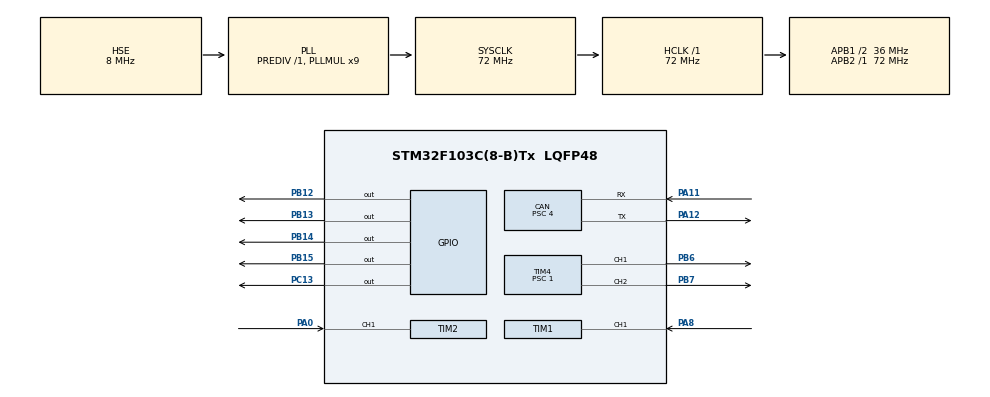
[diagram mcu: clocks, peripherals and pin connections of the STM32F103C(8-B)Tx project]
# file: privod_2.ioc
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CAN.ABOM=ENABLE
CAN.BS1=CAN_BS1_15TQ
CAN.BS2=CAN_BS2_2TQ
CAN.CalculateBaudRate=500000
CAN.CalculateTimeBit=2000
CAN.CalculateTimeQuantum=111.11111111111111
CAN.NART=ENABLE
CAN.Prescaler=4
CAN.TXFP=ENABLE
Mcu.Family=STM32F1
Mcu.Name=STM32F103C(8-B)Tx
Mcu.Package=LQFP48
NVIC.PriorityGroup=NVIC_PRIORITYGROUP_4
NVIC.TIM1_CC_IRQn=true\:0\:0\:false\:false\:true\:true\:true\:true
NVIC.TIM2_IRQn=true\:0\:0\:false\:false\:true\:true\:true\:true
NVIC.TIM3_IRQn=true\:0\:0\:false\:false\:true\:true\:true\:true
NVIC.USB_HP_CAN1_TX_IRQn=true\:0\:0\:false\:false\:true\:true\:true\:true
NVIC.USB_LP_CAN1_RX0_IRQn=true\:0\:0\:false\:false\:true\:true\:true\:true
PA0-WKUP.Signal=S_TIM2_CH1_ETR
PA11.Mode=CAN_Activate
PA11.Signal=CAN_RX
PA12.Mode=CAN_Activate
PA12.Signal=CAN_TX
PA13.Mode=Serial_Wire
PA13.Signal=SYS_JTMS-SWDIO
PA14.Mode=Serial_Wire
PA14.Signal=SYS_JTCK-SWCLK
PA8.Signal=S_TIM1_CH1
PB12.Signal=GPIO_Output
PB13.Signal=GPIO_Output
PB14.Signal=GPIO_Output
PB15.Signal=GPIO_Output
PB6.Signal=S_TIM4_CH1
PB7.Signal=S_TIM4_CH2
PC13-TAMPER-RTC.Signal=GPIO_Output
PD0-OSC_IN.Mode=HSE-External-Oscillator
PD0-OSC_IN.Signal=RCC_OSC_IN
PD1-OSC_OUT.Mode=HSE-External-Oscillator
PD1-OSC_OUT.Signal=RCC_OSC_OUT
ProjectManager.HeapSize=0x200
ProjectManager.StackSize=0x400
ProjectManager.TargetToolchain=STM32CubeIDE
RCC.AHBFreq_Value=72000000
RCC.APB1CLKDivider=RCC_HCLK_DIV2
RCC.APB1Freq_Value=36000000
RCC.APB1TimFreq_Value=72000000
RCC.APB2Freq_Value=72000000
RCC.APB2TimFreq_Value=72000000
RCC.HCLKFreq_Value=72000000
RCC.PLLMUL=RCC_PLL_MUL9
RCC.PLLSourceVirtual=RCC_PLLSOURCE_HSE
RCC.SYSCLKFreq_VALUE=72000000
RCC.SYSCLKSource=RCC_SYSCLKSOURCE_PLLCLK
RCC.USBFreq_Value=72000000
SH.S_TIM1_CH1.0=TIM1_CH1,Input_Capture1_from_TI1
SH.S_TIM2_CH1_ETR.0=TIM2_CH1,Input_Capture1_from_TI1
SH.S_TIM4_CH1.0=TIM4_CH1,PWM Generation1 CH1
SH.S_TIM4_CH2.0=TIM4_CH2,PWM Generation2 CH2
TIM1.Channel-Input_Capture1_from_TI1=TIM_CHANNEL_1
TIM1.Period=64999
TIM1.Prescaler=1777
TIM2.Channel-Input_Capture1_from_TI1=TIM_CHANNEL_1
TIM2.Period=64999
TIM2.Prescaler=1999
TIM3.Period=14999
TIM3.Prescaler=499
TIM4.Channel-PWM\ Generation1\ CH1=TIM_CHANNEL_1
TIM4.Channel-PWM\ Generation2\ CH2=TIM_CHANNEL_2
TIM4.Period=9999
TIM4.Prescaler=1
VP_TIM1_VS_ClockSourceINT.Mode=Internal
VP_TIM2_VS_ClockSourceINT.Mode=Internal
VP_TIM3_VS_ClockSourceINT.Mode=Internal
VP_TIM4_VS_ClockSourceINT.Mode=Internal
board=custom

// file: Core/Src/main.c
/* USER CODE BEGIN Header */
/**
  ******************************************************************************
  * @file           : main.c
  * @brief          : Main program body
  ******************************************************************************
  * @attention
  *
  * Copyright (c) 2025 STMicroelectronics.
  * All rights reserved.
  *
  * This software is licensed under terms that can be found in the LICENSE file
  * in the root directory of this software component.
  * If no LICENSE file comes with this software, it is provided AS-IS.
  *
  ******************************************************************************
  */
/* USER CODE END Header */
#include "main.h"

/* USER CODE BEGIN Includes */
#include "inttypes.h"
int PI_regulator (float omega_zad, uint32_t Period, uint32_t prescaler, uint32_t Period_timer);
float Encoder(uint32_t prescaler, uint32_t Period);
/* USER CODE END Includes */

CAN_HandleTypeDef hcan;

TIM_HandleTypeDef htim1;
TIM_HandleTypeDef htim2;
TIM_HandleTypeDef htim3;
TIM_HandleTypeDef htim4;

/* USER CODE BEGIN PV */
CAN_TxHeaderTypeDef pTxHeader; //передача
CAN_RxHeaderTypeDef pRxHeader;// приём
uint32_t TxMailbox;
uint8_t TX_data[8], RX_data[8];
CAN_FilterTypeDef sFilterConfig;
//флаги
uint8_t CAN_RX = 0, CAN_TX = 0;
/* USER CODE END PV */

void SystemClock_Config(void);
static void MX_GPIO_Init(void);
static void MX_TIM2_Init(void);
static void MX_TIM4_Init(void);
static void MX_TIM1_Init(void);
static void MX_CAN_Init(void);
static void MX_TIM3_Init(void);

/* USER CODE BEGIN 0 */
uint32_t period1;
uint32_t period2;
uint8_t in = 0;
uint8_t Flag_Rx_CAN=0;
int om1=0;
int om2=0;//значени omega_zad, которое передаёт кан шина

/* USER CODE END 0 */

int main(void)
{

  /* MCU Configuration--------------------------------------------------------*/

  /* Reset of all peripherals, Initializes the Flash interface and the Systick. */
  HAL_Init();

  /* Configure the system clock */
  SystemClock_Config();

  /* Initialize all configured peripherals */
  MX_GPIO_Init();
  MX_TIM2_Init();
  MX_TIM4_Init();
  MX_TIM1_Init();
  MX_CAN_Init();
  MX_TIM3_Init();
  /* USER CODE BEGIN 2 */
  HAL_TIM_PWM_Start(&htim4, TIM_CHANNEL_1); //включаем шим
  HAL_TIM_IC_Start_IT(&htim2, TIM_CHANNEL_1);//включили захват сигнала с энкодера
  HAL_TIM_PWM_Start(&htim4, TIM_CHANNEL_2); //включаем шим
    HAL_TIM_IC_Start_IT(&htim1, TIM_CHANNEL_1);//включили захват сигнала с энкодера
  HAL_TIM_Base_Start_IT(&htim3);
    /*
  RCC->APB1ENR |= RCC_APB1ENR_TIM3EN; //включение тактового герератора для TIM3
  TIM3->CR1 = TIM_CR1_CEN; //включение таймера 3 (т.е. включили счётчик)
  TIM3->PSC = 1; //делитель частоты тактирования (частота тактирования 72МГц)
  TIM3->ARR = 50000; // верхнее значение счётчика
  */
  /*
  //кан шина
  NVIC_EnableIRQ(CAN1_RX1_IRQn);
  NVIC_EnableIRQ(CAN1_SCE_IRQn);
  CAN_FilterTypeDef canFilterConfig;
  canFilterConfig.FilterBank = 0;
  canFilterConfig.FilterMode = CAN_FILTERMODE_IDMASK;
  canFilterConfig.FilterScale = CAN_FILTERSCALE_32BIT;
  canFilterConfig.FilterIdHigh = 0x0000;
  canFilterConfig.FilterIdLow = 0x0000;
  canFilterConfig.FilterMaskIdHigh = 0x0000;
  canFilterConfig.FilterMaskIdLow = 0x0000;
  canFilterConfig.FilterFIFOAssignment = CAN_RX_FIFO0;
  canFilterConfig.FilterActivation = ENABLE;
  canFilterConfig.SlaveStartFilterBank = 14;
  HAL_CAN_ConfigFilter(&hcan, &canFilterConfig);
  HAL_CAN_Start(&hcan);
  HAL_CAN_ActivateNotification(&hcan, CAN_IT_RX_FIFO0_MSG_PENDING);
  */
  /* USER CODE END 2 */

  /* Infinite loop */
  /* USER CODE BEGIN WHILE */

  float omega_zad1 = 0, omega_zad2 = 0;
  uint32_t Prescaler1 = htim2.Init.Prescaler;
  uint32_t Prescaler2 = htim1.Init.Prescaler;
  uint32_t Period_timer1 =  htim2.Init.Period;
  uint32_t Period_timer2 =  htim1.Init.Period;
  //маски для логики драйвера
  uint8_t mask_left_vpered = 8, mask_left_back = 4, mask_rigth_vpered = 1,  mask_rigth_back = 2;

  while (1)
  {
	  omega_zad2 = om2;
	  omega_zad1 = om1;

	  HAL_GPIO_WritePin(GPIOB, GPIO_PIN_12, in & mask_left_vpered);
	  HAL_GPIO_WritePin(GPIOB, GPIO_PIN_13, in & mask_left_back);
	  HAL_GPIO_WritePin(GPIOB, GPIO_PIN_14, in & mask_rigth_back);
	  HAL_GPIO_WritePin(GPIOB, GPIO_PIN_15, in & mask_rigth_vpered);
	  HAL_Delay(50);
	 int value1 = PI_regulator(omega_zad1, period1, Prescaler1, Period_timer1);
	 __HAL_TIM_SET_COMPARE(&htim4, TIM_CHANNEL_1, value1);//подача шима
	 int value2 = PI_regulator(omega_zad2, period2, Prescaler2, Period_timer2);
	  __HAL_TIM_SET_COMPARE(&htim4, TIM_CHANNEL_2, value2);//подача шима левый движок
	  HAL_Delay(50);

	  //флаг приёма по кану
	  //printf("%d\n", (int)period1);
	  if(CAN_RX)
	  {

		  om1=(int)RX_data[0];
		  om2=(int)RX_data[1];
		  in = RX_data[2];
		  printf("_%d_%d_%d_\n", (int)RX_data[0], (int)RX_data[1], (int)RX_data[2]);
		  CAN_RX = 0;
	  }

	  float w1 =Encoder(period1, Prescaler1);
	  float w2 =Encoder(period2, Prescaler2);
	  TX_data[0] = (uint8_t)w1;
	  TX_data[1] = (uint8_t)w2;
	  TX_data[2] = in;
	  HAL_Delay(50);
	  printf("|%d_%d_%d|\n", (int)w1, (int)w2, (int)in);
    /* USER CODE END WHILE */

  }
}

void SystemClock_Config(void)
{
  RCC_OscInitTypeDef RCC_OscInitStruct = {0};
  RCC_ClkInitTypeDef RCC_ClkInitStruct = {0};

  /** Initializes the RCC Oscillators according to the specified parameters
  * in the RCC_OscInitTypeDef structure.
  */
  RCC_OscInitStruct.OscillatorType = RCC_OSCILLATORTYPE_HSE;
  RCC_OscInitStruct.HSEState = RCC_HSE_ON;
  RCC_OscInitStruct.HSEPredivValue = RCC_HSE_PREDIV_DIV1;
  RCC_OscInitStruct.HSIState = RCC_HSI_ON;
  RCC_OscInitStruct.PLL.PLLState = RCC_PLL_ON;
  RCC_OscInitStruct.PLL.PLLSource = RCC_PLLSOURCE_HSE;
  RCC_OscInitStruct.PLL.PLLMUL = RCC_PLL_MUL9;
  if (HAL_RCC_OscConfig(&RCC_OscInitStruct) != HAL_OK)
  {
    Error_Handler();
  }

  /** Initializes the CPU, AHB and APB buses clocks
  */
  RCC_ClkInitStruct.ClockType = RCC_CLOCKTYPE_HCLK|RCC_CLOCKTYPE_SYSCLK
                              |RCC_CLOCKTYPE_PCLK1|RCC_CLOCKTYPE_PCLK2;
  RCC_ClkInitStruct.SYSCLKSource = RCC_SYSCLKSOURCE_PLLCLK;
  RCC_ClkInitStruct.AHBCLKDivider = RCC_SYSCLK_DIV1;
  RCC_ClkInitStruct.APB1CLKDivider = RCC_HCLK_DIV2;
  RCC_ClkInitStruct.APB2CLKDivider = RCC_HCLK_DIV1;

  if (HAL_RCC_ClockConfig(&RCC_ClkInitStruct, FLASH_LATENCY_2) != HAL_OK)
  {
    Error_Handler();
  }
}

static void MX_CAN_Init(void)
{

  hcan.Instance = CAN1;
  hcan.Init.Prescaler = 4;
  hcan.Init.Mode = CAN_MODE_NORMAL;
  hcan.Init.SyncJumpWidth = CAN_SJW_1TQ;
  hcan.Init.TimeSeg1 = CAN_BS1_15TQ;
  hcan.Init.TimeSeg2 = CAN_BS2_2TQ;
  hcan.Init.TimeTriggeredMode = DISABLE;
  hcan.Init.AutoBusOff = ENABLE;
  hcan.Init.AutoWakeUp = DISABLE;
  hcan.Init.AutoRetransmission = ENABLE;
  hcan.Init.ReceiveFifoLocked = DISABLE;
  hcan.Init.TransmitFifoPriority = ENABLE;
  if (HAL_CAN_Init(&hcan) != HAL_OK)
  {
    Error_Handler();
  }
  /* USER CODE BEGIN CAN_Init 2 */
  	pTxHeader.DLC = 4;
    pTxHeader.IDE = CAN_ID_STD;
    pTxHeader.RTR = CAN_RTR_DATA;
    pTxHeader.StdId = 0x0002;
    pTxHeader.TransmitGlobalTime = DISABLE;

    sFilterConfig.FilterBank = 0;
    sFilterConfig.FilterMode = CAN_FILTERMODE_IDLIST;
    sFilterConfig.FilterFIFOAssignment = CAN_RX_FIFO0;
    sFilterConfig.SlaveStartFilterBank = 0;
    sFilterConfig.FilterIdHigh = 0x00fe<<5;
    sFilterConfig.FilterIdLow = 0x0002<<5;
    sFilterConfig.FilterMaskIdHigh = 0x00003<<5;
    sFilterConfig.FilterMaskIdLow = 0x0004<<5;
    sFilterConfig.FilterScale = CAN_FILTERSCALE_16BIT;
    sFilterConfig.FilterActivation = ENABLE;

    if (HAL_CAN_ConfigFilter(&hcan, &sFilterConfig)!= HAL_OK)
    {
  	  Error_Handler();
    }

    if(HAL_CAN_Start(&hcan)!= HAL_OK)
    {
  	  Error_Handler();
    }

    if(HAL_CAN_ActivateNotification(&hcan, CAN_IT_RX_FIFO0_MSG_PENDING | CAN_IT_TX_MAILBOX_EMPTY) != HAL_OK)
    {
  	  Error_Handler();
    }
  /* USER CODE END CAN_Init 2 */

}

static void MX_TIM1_Init(void)
{

  TIM_ClockConfigTypeDef sClockSourceConfig = {0};
  TIM_MasterConfigTypeDef sMasterConfig = {0};
  TIM_IC_InitTypeDef sConfigIC = {0};

  htim1.Instance = TIM1;
  htim1.Init.Prescaler = 1777;
  htim1.Init.CounterMode = TIM_COUNTERMODE_UP;
  htim1.Init.Period = 64999;
  htim1.Init.ClockDivision = TIM_CLOCKDIVISION_DIV1;
  htim1.Init.RepetitionCounter = 0;
  htim1.Init.AutoReloadPreload = TIM_AUTORELOAD_PRELOAD_DISABLE;
  if (HAL_TIM_Base_Init(&htim1) != HAL_OK)
  {
    Error_Handler();
  }
  sClockSourceConfig.ClockSource = TIM_CLOCKSOURCE_INTERNAL;
  if (HAL_TIM_ConfigClockSource(&htim1, &sClockSourceConfig) != HAL_OK)
  {
    Error_Handler();
  }
  if (HAL_TIM_IC_Init(&htim1) != HAL_OK)
  {
    Error_Handler();
  }
  sMasterConfig.MasterOutputTrigger = TIM_TRGO_RESET;
  sMasterConfig.MasterSlaveMode = TIM_MASTERSLAVEMODE_DISABLE;
  if (HAL_TIMEx_MasterConfigSynchronization(&htim1, &sMasterConfig) != HAL_OK)
  {
    Error_Handler();
  }
  sConfigIC.ICPolarity = TIM_INPUTCHANNELPOLARITY_RISING;
  sConfigIC.ICSelection = TIM_ICSELECTION_DIRECTTI;
  sConfigIC.ICPrescaler = TIM_ICPSC_DIV1;
  sConfigIC.ICFilter = 0;
  if (HAL_TIM_IC_ConfigChannel(&htim1, &sConfigIC, TIM_CHANNEL_1) != HAL_OK)
  {
    Error_Handler();
  }

}

static void MX_TIM2_Init(void)
{

  TIM_ClockConfigTypeDef sClockSourceConfig = {0};
  TIM_MasterConfigTypeDef sMasterConfig = {0};
  TIM_IC_InitTypeDef sConfigIC = {0};

  htim2.Instance = TIM2;
  htim2.Init.Prescaler = 1999;
  htim2.Init.CounterMode = TIM_COUNTERMODE_UP;
  htim2.Init.Period = 64999;
  htim2.Init.ClockDivision = TIM_CLOCKDIVISION_DIV1;
  htim2.Init.AutoReloadPreload = TIM_AUTORELOAD_PRELOAD_DISABLE;
  if (HAL_TIM_Base_Init(&htim2) != HAL_OK)
  {
    Error_Handler();
  }
  sClockSourceConfig.ClockSource = TIM_CLOCKSOURCE_INTERNAL;
  if (HAL_TIM_ConfigClockSource(&htim2, &sClockSourceConfig) != HAL_OK)
  {
    Error_Handler();
  }
  if (HAL_TIM_IC_Init(&htim2) != HAL_OK)
  {
    Error_Handler();
  }
  sMasterConfig.MasterOutputTrigger = TIM_TRGO_RESET;
  sMasterConfig.MasterSlaveMode = TIM_MASTERSLAVEMODE_DISABLE;
  if (HAL_TIMEx_MasterConfigSynchronization(&htim2, &sMasterConfig) != HAL_OK)
  {
    Error_Handler();
  }
  sConfigIC.ICPolarity = TIM_INPUTCHANNELPOLARITY_RISING;
  sConfigIC.ICSelection = TIM_ICSELECTION_DIRECTTI;
  sConfigIC.ICPrescaler = TIM_ICPSC_DIV1;
  sConfigIC.ICFilter = 0;
  if (HAL_TIM_IC_ConfigChannel(&htim2, &sConfigIC, TIM_CHANNEL_1) != HAL_OK)
  {
    Error_Handler();
  }

}

static void MX_TIM3_Init(void)
{

  TIM_ClockConfigTypeDef sClockSourceConfig = {0};
  TIM_MasterConfigTypeDef sMasterConfig = {0};

  htim3.Instance = TIM3;
  htim3.Init.Prescaler = 499;
  htim3.Init.CounterMode = TIM_COUNTERMODE_UP;
  htim3.Init.Period = 14999;
  htim3.Init.ClockDivision = TIM_CLOCKDIVISION_DIV1;
  htim3.Init.AutoReloadPreload = TIM_AUTORELOAD_PRELOAD_DISABLE;
  if (HAL_TIM_Base_Init(&htim3) != HAL_OK)
  {
    Error_Handler();
  }
  sClockSourceConfig.ClockSource = TIM_CLOCKSOURCE_INTERNAL;
  if (HAL_TIM_ConfigClockSource(&htim3, &sClockSourceConfig) != HAL_OK)
  {
    Error_Handler();
  }
  sMasterConfig.MasterOutputTrigger = TIM_TRGO_RESET;
  sMasterConfig.MasterSlaveMode = TIM_MASTERSLAVEMODE_DISABLE;
  if (HAL_TIMEx_MasterConfigSynchronization(&htim3, &sMasterConfig) != HAL_OK)
  {
    Error_Handler();
  }

}

static void MX_TIM4_Init(void)
{

  TIM_ClockConfigTypeDef sClockSourceConfig = {0};
  TIM_MasterConfigTypeDef sMasterConfig = {0};
  TIM_OC_InitTypeDef sConfigOC = {0};

  htim4.Instance = TIM4;
  htim4.Init.Prescaler = 1;
  htim4.Init.CounterMode = TIM_COUNTERMODE_UP;
  htim4.Init.Period = 9999;
  htim4.Init.ClockDivision = TIM_CLOCKDIVISION_DIV1;
  htim4.Init.AutoReloadPreload = TIM_AUTORELOAD_PRELOAD_DISABLE;
  if (HAL_TIM_Base_Init(&htim4) != HAL_OK)
  {
    Error_Handler();
  }
  sClockSourceConfig.ClockSource = TIM_CLOCKSOURCE_INTERNAL;
  if (HAL_TIM_ConfigClockSource(&htim4, &sClockSourceConfig) != HAL_OK)
  {
    Error_Handler();
  }
  if (HAL_TIM_PWM_Init(&htim4) != HAL_OK)
  {
    Error_Handler();
  }
  sMasterConfig.MasterOutputTrigger = TIM_TRGO_RESET;
  sMasterConfig.MasterSlaveMode = TIM_MASTERSLAVEMODE_DISABLE;
  if (HAL_TIMEx_MasterConfigSynchronization(&htim4, &sMasterConfig) != HAL_OK)
  {
    Error_Handler();
  }
  sConfigOC.OCMode = TIM_OCMODE_PWM1;
  sConfigOC.Pulse = 0;
  sConfigOC.OCPolarity = TIM_OCPOLARITY_HIGH;
  sConfigOC.OCFastMode = TIM_OCFAST_DISABLE;
  if (HAL_TIM_PWM_ConfigChannel(&htim4, &sConfigOC, TIM_CHANNEL_1) != HAL_OK)
  {
    Error_Handler();
  }
  if (HAL_TIM_PWM_ConfigChannel(&htim4, &sConfigOC, TIM_CHANNEL_2) != HAL_OK)
  {
    Error_Handler();
  }
  HAL_TIM_MspPostInit(&htim4);

}

static void MX_GPIO_Init(void)
{
  GPIO_InitTypeDef GPIO_InitStruct = {0};

  /* GPIO Ports Clock Enable */
  __HAL_RCC_GPIOC_CLK_ENABLE();
  __HAL_RCC_GPIOD_CLK_ENABLE();
  __HAL_RCC_GPIOA_CLK_ENABLE();
  __HAL_RCC_GPIOB_CLK_ENABLE();

  /*Configure GPIO pin Output Level */
  HAL_GPIO_WritePin(GPIOC, GPIO_PIN_13, GPIO_PIN_RESET);

  /*Configure GPIO pin Output Level */
  HAL_GPIO_WritePin(GPIOB, GPIO_PIN_12|GPIO_PIN_13|GPIO_PIN_14|GPIO_PIN_15, GPIO_PIN_RESET);

  /*Configure GPIO pin : PC13 */
  GPIO_InitStruct.Pin = GPIO_PIN_13;
  GPIO_InitStruct.Mode = GPIO_MODE_OUTPUT_PP;
  GPIO_InitStruct.Pull = GPIO_NOPULL;
  GPIO_InitStruct.Speed = GPIO_SPEED_FREQ_LOW;
  HAL_GPIO_Init(GPIOC, &GPIO_InitStruct);

  /*Configure GPIO pins : PB12 PB13 PB14 PB15 */
  GPIO_InitStruct.Pin = GPIO_PIN_12|GPIO_PIN_13|GPIO_PIN_14|GPIO_PIN_15;
  GPIO_InitStruct.Mode = GPIO_MODE_OUTPUT_PP;
  GPIO_InitStruct.Pull = GPIO_NOPULL;
  GPIO_InitStruct.Speed = GPIO_SPEED_FREQ_LOW;
  HAL_GPIO_Init(GPIOB, &GPIO_InitStruct);

}

/* USER CODE BEGIN 4 */
  // энкодер привода и пирегулятор
    float Encoder(uint32_t Period, uint32_t prescaler)
    {
  	  //перевод периода тиков в секунды
  	  int max_frequancy= 72000000;
  	  float baze_frequancy=max_frequancy/prescaler;

  	  float time_tik=1/baze_frequancy;

  	  float time=time_tik*(float)Period;
  	  //printf("%f\n", time_tik);
  	  	printf("%"PRIu32"\n", Period);
  	  //находим обороты редуктора в минуту
  	  if((time==0) || (Period > 800))
  		  return 0;
  	  else
  	  {
  	  float frequancy = 1/time*60;// находим частоту тиков в минуту
  	  float omega_dv=frequancy/9;//находим обороты вала двигателя в минуту
  	  float omega_tek=omega_dv/56;//находим обороты вала редуктора в минуту, 46 передаточное число, 130/70 коэф пропорциональности, т.к. не вышло на максимуме 130
  	  //printf("%f\n", omega_tek);
  	  return omega_tek;
  	  }
    }
    float s=0; //для функции пи регулятора
    int PI_regulator (float omega_zad, uint32_t Period, uint32_t presceler, uint32_t Period_timer)
    {
      uint32_t dt = TIM3->CNT;// задаём h значение счётчика таймера3

  	  float prop, integ, kp=0.15, ki=0.035, sum, error; // ki=0.0005
  	  int pwm;//значение ШИМ сигнала
  	  float omega_tek=Encoder(Period, presceler);//омега текущая
  	  error=omega_zad-omega_tek;//ошибка

  	    //пропорциональное звено
  	  prop=kp*error;
  	    //интегральное
  	  dt = TIM3->CNT - dt;

  	  s+=error*dt;//считаю подинтегральную функцию
  	  integ=ki*s;//домножаю на коэф
  	  if(integ>omega_zad)//если интегральное звено становиться больше, чем омега заданная (она равна 1500), то ограничиваю его 1500
  	  {
  	     integ=omega_zad;
  	     s=integ/ki;
  	  }
  	  if(integ<-omega_zad)//если интегральное звено становиться меньше, чем -1500, то ограничиваю его -1500
  	  {
  	    integ=-omega_zad;
  	     s=-integ/ki;
  	  }
  	    //сумматор
  	  sum=integ+prop;

  	  pwm=(int)(sum*Period_timer/110);//оишибку умножаем на коэф пропрорциональности
  	  int a=Period_timer;
  	 // printf("_%d_\n", pwm);
  	  if(pwm>a)
  	  pwm=Period_timer;

  	  if(pwm<0)
  	  pwm=0;
  	  //printf("_%d_\n", pwm);
  	  return pwm;
    }

//прерывание по захвату сигнала с приводoв
int i=0;
int j=0;
void HAL_TIM_IC_CaptureCallback(TIM_HandleTypeDef *htim)
  {
	  if (htim->Instance == TIM2) //проверка на то, что это второй таймер
	  {
		  i++;
		  		  if(i==2)
		  		  {
		  			  TIM2->CNT = 0;
		  			  period1 = HAL_TIM_ReadCapturedValue(&htim2, TIM_CHANNEL_1); //выдаёт количество тиков, которое успел сделать таймер
		  			  i=0;
		  		  }
	  }
	  if (htim->Instance == TIM1) //проверка на то, что это второй таймер
	  {
		  j++;
		  		  if(j==2)
		  		  {
		  		 	  TIM1->CNT = 0;
		  		 	  period2 = HAL_TIM_ReadCapturedValue(&htim1, TIM_CHANNEL_1); //выдаёт количество тиков, которое успел сделать таймер
		  		 	  j=0;
		  		  }
	  }
  }

void HAL_CAN_RxFifo0MsgPendingCallback(CAN_HandleTypeDef *hcan)
{
	CAN_RX = 1;
	if(HAL_CAN_GetRxMessage(hcan, CAN_RX_FIFO0, &pRxHeader, RX_data) != HAL_OK)
			  {
				  Error_Handler();
			  }
}

void HAL_TIM_PeriodElapsedCallback(TIM_HandleTypeDef *htim)
{
	if(htim->Instance == TIM3){
		HAL_CAN_AddTxMessage(&hcan, &pTxHeader, TX_data, &TxMailbox);
		HAL_GPIO_TogglePin(GPIOC, GPIO_PIN_13);
	}
}

/* USER CODE END 4 */

void Error_Handler(void)
{
  __disable_irq();
  while (1)
  {
  }
}
